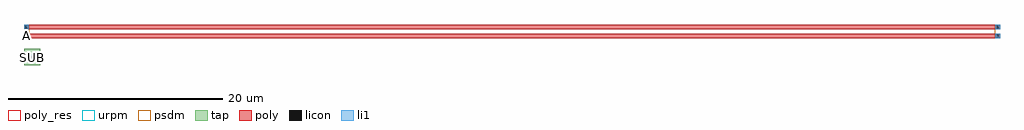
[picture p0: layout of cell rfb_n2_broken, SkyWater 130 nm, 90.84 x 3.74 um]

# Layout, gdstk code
import gdstk
lib = gdstk.Library(unit=1e-6, precision=1e-09)
def R(c, l, rs):  # rectangles x0, y0, x1, y1
    for r in rs: c.add(gdstk.rectangle(r[:2], r[2:], *l))
tap = (65, 44)
poly_res = (66, 13)
poly = (66, 20)
licon = (66, 44)
li1 = (67, 20)
urpm = (79, 20)
psdm = (94, 20)

res_array = lib.new_cell('res_array')
R(res_array, poly_res, [(0.42,0,90.42,0.42), (0.42,0.82,90.42,1.24)])
R(res_array, poly, [(0,0,90.84,0.42), (0,0.82,90.84,1.24)])
R(res_array, licon, [(0.1,0.1,0.32,0.32), (90.52,0.1,90.74,0.32), (0.1,0.92,0.32,1.14), (90.52,0.92,90.74,1.14)])
R(res_array, li1, [(0,0,0.42,0.42), (90.42,0,90.84,0.42), (0,0.82,0.42,1.24), (90.42,0.82,90.84,1.24)])
R(res_array, urpm, [(0.42,0,90.42,0.42), (0.42,0.82,90.42,1.24)])
R(res_array, psdm, [(0.42,0,90.42,0.42), (0.42,0.82,90.42,1.24)])

rfb_n2_broken_bank = lib.new_cell('rfb_n2_broken_bank')
rfb_n2_broken_bank.add(gdstk.Reference(res_array, (0,0)))

rfb_n2_broken = lib.new_cell('rfb_n2_broken')
R(rfb_n2_broken, tap, [(0,-2.5,1.5,-1)])
R(rfb_n2_broken, licon, [(0.665,-1.835,0.835,-1.665)])
R(rfb_n2_broken, li1, [(0.54,-1.96,0.96,-1.54)])
R(rfb_n2_broken, urpm, [(0.42,0,90.42,1.24)])
R(rfb_n2_broken, psdm, [(0.42,0,90.42,1.24)])
rfb_n2_broken.add(gdstk.Reference(rfb_n2_broken_bank, (0,0)))
rfb_n2_broken.add(gdstk.Label('A', (0.21,0.21), layer=67, texttype=5))
rfb_n2_broken.add(gdstk.Label('B', (0.21,1.03), layer=67, texttype=5))
rfb_n2_broken.add(gdstk.Label('SUB', (0.75,-1.75), layer=67, texttype=5))

lib.write_gds('rfb_n2_broken.gds')
